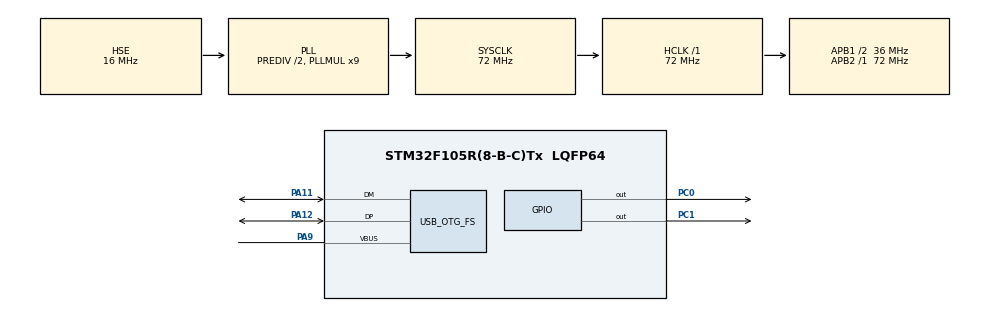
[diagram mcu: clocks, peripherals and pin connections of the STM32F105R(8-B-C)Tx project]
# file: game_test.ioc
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FREERTOS.Tasks01=defaultTask,0,128,StartDefaultTask,Default,NULL
Mcu.Family=STM32F1
Mcu.Name=STM32F105R(8-B-C)Tx
Mcu.Package=LQFP64
NVIC.OTG_FS_IRQn=true\:5\:0\:false\:false\:true\:true\:false\:true
NVIC.PriorityGroup=NVIC_PRIORITYGROUP_4
PA11.Mode=Device_Only
PA11.Signal=USB_OTG_FS_DM
PA12.Mode=Device_Only
PA12.Signal=USB_OTG_FS_DP
PA9.Mode=Activate_VBUS
PA9.Signal=USB_OTG_FS_VBUS
PC0.Signal=GPIO_Output
PC1.Signal=GPIO_Output
PD0-OSC_IN.Mode=HSE-External-Oscillator
PD0-OSC_IN.Signal=RCC_OSC_IN
PD1-OSC_OUT.Mode=HSE-External-Oscillator
PD1-OSC_OUT.Signal=RCC_OSC_OUT
ProjectManager.HeapSize=0x200
ProjectManager.StackSize=0x400
ProjectManager.TargetToolchain=MDK-ARM V5
RCC.AHBFreq_Value=72000000
RCC.APB1CLKDivider=RCC_HCLK_DIV2
RCC.APB1Freq_Value=36000000
RCC.APB1TimFreq_Value=72000000
RCC.APB2Freq_Value=72000000
RCC.APB2TimFreq_Value=72000000
RCC.HCLKFreq_Value=72000000
RCC.HSEDivPLL=RCC_HSE_PREDIV_DIV2
RCC.HSE_VALUE=16000000
RCC.PLLMUL=RCC_PLL_MUL9
RCC.SYSCLKFreq_VALUE=72000000
RCC.SYSCLKSource=RCC_SYSCLKSOURCE_PLLCLK
RCC.USBFreq_Value=48000000
USB_DEVICE.CLASS_NAME_FS=CDC
USB_DEVICE.VirtualMode=Cdc
USB_DEVICE.VirtualModeFS=Cdc_FS
USB_OTG_FS.VirtualMode=Device_Only
VP_FREERTOS_VS_CMSIS_V1.Mode=CMSIS_V1
VP_SYS_VS_ND.Mode=No_Debug
VP_USB_DEVICE_VS_USB_DEVICE_CDC_FS.Mode=CDC_FS
board=custom

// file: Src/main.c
/* USER CODE BEGIN Header */
/**
  ******************************************************************************
  * @file           : main.c
  * @brief          : Main program body
  ******************************************************************************
  * This notice applies to any and all portions of this file
  * that are not between comment pairs USER CODE BEGIN and
  * USER CODE END. Other portions of this file, whether
  * inserted by the user or by software development tools
  * are owned by their respective copyright owners.
  *
  * Copyright (c) 2020 STMicroelectronics International N.V.
  * All rights reserved.
  *
  * Redistribution and use in source and binary forms, with or without
  * modification, are permitted, provided that the following conditions are met:
  *
  * 1. Redistribution of source code must retain the above copyright notice,
  *    this list of conditions and the following disclaimer.
  * 2. Redistributions in binary form must reproduce the above copyright notice,
  *    this list of conditions and the following disclaimer in the documentation
  *    and/or other materials provided with the distribution.
  * 3. Neither the name of STMicroelectronics nor the names of other
  *    contributors to this software may be used to endorse or promote products
  *    derived from this software without specific written permission.
  * 4. This software, including modifications and/or derivative works of this
  *    software, must execute solely and exclusively on microcontroller or
  *    microprocessor devices manufactured by or for STMicroelectronics.
  * 5. Redistribution and use of this software other than as permitted under
  *    this license is void and will automatically terminate your rights under
  *    this license.
  *
  * THIS SOFTWARE IS PROVIDED BY STMICROELECTRONICS AND CONTRIBUTORS "AS IS"
  * AND ANY EXPRESS, IMPLIED OR STATUTORY WARRANTIES, INCLUDING, BUT NOT
  * LIMITED TO, THE IMPLIED WARRANTIES OF MERCHANTABILITY, FITNESS FOR A
  * PARTICULAR PURPOSE AND NON-INFRINGEMENT OF THIRD PARTY INTELLECTUAL PROPERTY
  * RIGHTS ARE DISCLAIMED TO THE FULLEST EXTENT PERMITTED BY LAW. IN NO EVENT
  * SHALL STMICROELECTRONICS OR CONTRIBUTORS BE LIABLE FOR ANY DIRECT, INDIRECT,
  * INCIDENTAL, SPECIAL, EXEMPLARY, OR CONSEQUENTIAL DAMAGES (INCLUDING, BUT NOT
  * LIMITED TO, PROCUREMENT OF SUBSTITUTE GOODS OR SERVICES; LOSS OF USE, DATA,
  * OR PROFITS; OR BUSINESS INTERRUPTION) HOWEVER CAUSED AND ON ANY THEORY OF
  * LIABILITY, WHETHER IN CONTRACT, STRICT LIABILITY, OR TORT (INCLUDING
  * NEGLIGENCE OR OTHERWISE) ARISING IN ANY WAY OUT OF THE USE OF THIS SOFTWARE,
  * EVEN IF ADVISED OF THE POSSIBILITY OF SUCH DAMAGE.
  *
  ******************************************************************************
  */
/* USER CODE END Header */

#include "main.h"
#include "cmsis_os.h"
#include "usb_device.h"

/* USER CODE BEGIN PD */
#define ERROR_SET -1
#define SET_OK 1
#define IN_PAST_SET 0
#define SET_ZX 1
#define RESET_ZX 0
#define X 'x'
#define Z '0'
#define CLR ' '
#define CLEAR_STRING 9

#define WIN 10
#define LOSS 20
#define DRAW 30
#define NEXT_STEP 40
/* USER CODE END PD */

osThreadId defaultTaskHandle;
/* USER CODE BEGIN PV */
xQueueHandle queue_usb;
xQueueHandle queue_in_usb;
uint8_t data_buff_input_usb[64];
uint8_t data_buff_to_usb[64];

struct msg_for_game{
uint8_t invite_string[64];
uint8_t game_field[6][10];
}struct_for_send;

Control_CMD_t result_search;
extern uint8_t CDC_Transmit_FS(uint8_t* Buf, uint16_t Len);
void Error_Handler(void);
void PrepareMove(Control_CMD_t move);
uint8_t CheckFild(uint8_t num_cell,uint8_t *ptr);
int ModifyGameField(uint8_t num_cell,char symbol);
uint8_t AlgoritmGame(uint8_t num_cell);
void SetMoveInMsg(uint8_t move, uint8_t symbol);
bool SearchWinComb(uint8_t num_cell);
void MoveComb(uint8_t num_cell,char source[],char destination[]);
void RemoveComb(uint8_t num_cell,char* source);
uint8_t SearchLineBlock(uint8_t num_cell);
void SeparateLine(uint8_t num_cell);
void ResetAllDataGame(void);
uint8_t z_coordinates[9] = {RESET_ZX};
uint8_t x_coordinates[9] = {RESET_ZX};

uint8_t abc_xy[9][2] = {{1,2},{3,2},{5,2},
												{1,3},{3,3},{5,3},
                         {1,4},{3,4},{5,4}};

uint8_t  step = 0;
struct Combination
{
uint8_t cnt_comb ;
char buff_comb[8][3];
};

struct Combination first_state = {8,
																	1,2,3,
																	1,5,9,
																	1,4,7,
																	2,5,8,
																	4,5,6,
																	7,5,3,
																	9,6,3,
																	9,8,7
																	};

struct Combination block_comb = {0,
																		0,0,0,
																		0,0,0,
																		0,0,0,
																		0,0,0,
																		0,0,0,
																		0,0,0,
																		0,0,0,
																		0,0,0
};

struct Combination norm_comb = {0,
																		0,0,0,
																		0,0,0,
																		0,0,0,
																		0,0,0,
																		0,0,0,
																		0,0,0,
																		0,0,0,
																		0,0,0
};

struct msg_for_game msg_full;
bool flag_start_game = false;

uint8_t your_step_my_step[]       = {"YOUR MOVE   , MY MOVE   \r\n"};

uint8_t invite[]       = {"ENTER YOUR MOVE,OR SEND 'END'\r\n"};
uint8_t you_won[]        = {"YOU WON, CONGRATULATIONS!\r\n"};
uint8_t i_won[]          = {"YOU HAVE LOST, TRY AGAIN!\r\n"};
uint8_t draw[]           = {"DRAW, FRIENDSHIP WON!\r\n"};

uint8_t game_field[6][10] = {{"-A-B-C--\r\n"},
                             {"--------\r\n"},
                             {"| | | |1\r\n"},
                             {"| | | |2\r\n"},
                             {"| | | |3\r\n"},
                             {"--------\r\n"}};
/* USER CODE END PV */

void SystemClock_Config(void);
static void MX_GPIO_Init(void);
void StartDefaultTask(void const * argument);

/* USER CODE BEGIN 0 */
/*отправка пакетов в USB*/
/*разбор пакета принятого в USB*/
void Task_Pars_USB (void *pvParametrs)
{

	portBASE_TYPE xHigherPriorityTaskWoken;
	xHigherPriorityTaskWoken = 50;
	portBASE_TYPE retVal;

for(;;)
	{

		retVal = xQueueReceive(queue_in_usb,&data_buff_input_usb, 0);
		if(retVal == pdPASS)
		{
				result_search = ParsCMD(data_buff_input_usb);
				switch (result_search)
				{
					/*установка скорости CAN*/
								case HELLO:
								{
									PrepareMove(HELLO);
									/*ответим плодтверждением*/
									break;
								}
								case A1:
								{
									/*ответим плодтверждением*/
									PrepareMove(A1);
									break;
								}
								case A2:
								{
									/*ответим плодтверждением*/
									PrepareMove(A2);
									break;
								}
								case A3:
								{
									/*ответим плодтверждением*/
									PrepareMove(A3);
									break;
								}
								case B1:
								{
									/*ответим плодтверждением*/
									PrepareMove(B1);
									break;
								}
								case B2:
								{
									/*ответим плодтверждением*/
									PrepareMove(B2);
									break;
								}
								case B3:
								{

									/*ответим плодтверждением*/
									PrepareMove(B3);
									break;
								}
								case C1:
								{
									/*ответим плодтверждением*/
									PrepareMove(C1);
									break;
								}
								case C2:
								{
									/*ответим плодтверждением*/
								  PrepareMove(C2);
									break;
								}
								case C3:
								{
									/*ответим плодтверждением*/
									PrepareMove(C3);
									break;
								}
								case END:
								{
									flag_start_game = false;
									/*ответим плодтверждением*/
									PrepareMove(END);
									break;
								}

					default :
					{
						break;
					}
				}

		}
		osDelay(1);
	}

}

void Task_Send_USB (void *pvParametrs)
{
	portBASE_TYPE retVal;
	uint8_t data_to_usb[64];
	uint8_t answer = 0;
	for(;;)
	{
//	  retVal = xQueueReceive(queue_usb,&data_to_usb, strlen(queue_usb));
//		if(retVal == pdPASS )
//		{
//			CDC_Transmit_FS(game_field[0],sizeof(game_field));
//			do{
//						answer = CDC_Transmit_FS(data_to_usb,strlen((char*)data_to_usb));
//			  }while(answer != USBD_OK);

//			memset(data_to_usb,0,64);
//		}
			  retVal = xQueueReceive(queue_usb,&msg_full, strlen(queue_usb));
		if(retVal == pdPASS )
		{
			CDC_Transmit_FS(msg_full.game_field[0],sizeof(msg_full.game_field));
			do{
						answer = CDC_Transmit_FS(msg_full.invite_string,strlen((char*)msg_full.invite_string));
			  }while(answer != USBD_OK);

			memset(data_to_usb,0,64);
		}
		else
		{

		}
    osDelay(1);
	}
}
/* USER CODE END 0 */

int main(void)
{

  /* MCU Configuration--------------------------------------------------------*/

  /* Reset of all peripherals, Initializes the Flash interface and the Systick. */
  HAL_Init();

  /* Configure the system clock */
  SystemClock_Config();

  /* Initialize all configured peripherals */
  MX_GPIO_Init();

  /* USER CODE BEGIN RTOS_QUEUES */
  /* add queues, ... */
	//queue_usb = xQueueCreate(8,sizeof(data_buff_to_usb));
	queue_usb = xQueueCreate(8,sizeof(struct_for_send));
	queue_in_usb = xQueueCreate(8,sizeof(data_buff_input_usb));
  /* USER CODE END RTOS_QUEUES */

  /* Create the thread(s) */
  /* definition and creation of defaultTask */
  osThreadDef(defaultTask, StartDefaultTask, osPriorityNormal, 0, 128);
  defaultTaskHandle = osThreadCreate(osThread(defaultTask), NULL);

  /* USER CODE BEGIN RTOS_THREADS */
  /* add threads, ... */
	xTaskCreate( Task_Send_USB, (const char *) "Task_Send_USB", configMINIMAL_STACK_SIZE, NULL, 1, NULL );
	xTaskCreate( Task_Pars_USB, (const char *) "Task_Pars_USB", configMINIMAL_STACK_SIZE, NULL, 0, NULL );
  /* USER CODE END RTOS_THREADS */

  /* Start scheduler */
  osKernelStart();

  /* We should never get here as control is now taken by the scheduler */
  /* Infinite loop */
  while (1)
  {

  }
}

void SystemClock_Config(void)
{
  RCC_OscInitTypeDef RCC_OscInitStruct = {0};
  RCC_ClkInitTypeDef RCC_ClkInitStruct = {0};
  RCC_PeriphCLKInitTypeDef PeriphClkInit = {0};

  /** Initializes the CPU, AHB and APB busses clocks
  */
  RCC_OscInitStruct.OscillatorType = RCC_OSCILLATORTYPE_HSE;
  RCC_OscInitStruct.HSEState = RCC_HSE_ON;
  RCC_OscInitStruct.HSEPredivValue = RCC_HSE_PREDIV_DIV2;
  RCC_OscInitStruct.HSIState = RCC_HSI_ON;
  RCC_OscInitStruct.Prediv1Source = RCC_PREDIV1_SOURCE_HSE;
  RCC_OscInitStruct.PLL.PLLState = RCC_PLL_ON;
  RCC_OscInitStruct.PLL.PLLSource = RCC_PLLSOURCE_HSE;
  RCC_OscInitStruct.PLL.PLLMUL = RCC_PLL_MUL9;
  RCC_OscInitStruct.PLL2.PLL2State = RCC_PLL_NONE;
  if (HAL_RCC_OscConfig(&RCC_OscInitStruct) != HAL_OK)
  {
    Error_Handler();
  }
  /** Initializes the CPU, AHB and APB busses clocks
  */
  RCC_ClkInitStruct.ClockType = RCC_CLOCKTYPE_HCLK|RCC_CLOCKTYPE_SYSCLK
                              |RCC_CLOCKTYPE_PCLK1|RCC_CLOCKTYPE_PCLK2;
  RCC_ClkInitStruct.SYSCLKSource = RCC_SYSCLKSOURCE_PLLCLK;
  RCC_ClkInitStruct.AHBCLKDivider = RCC_SYSCLK_DIV1;
  RCC_ClkInitStruct.APB1CLKDivider = RCC_HCLK_DIV2;
  RCC_ClkInitStruct.APB2CLKDivider = RCC_HCLK_DIV1;

  if (HAL_RCC_ClockConfig(&RCC_ClkInitStruct, FLASH_LATENCY_2) != HAL_OK)
  {
    Error_Handler();
  }
  PeriphClkInit.PeriphClockSelection = RCC_PERIPHCLK_USB;
  PeriphClkInit.UsbClockSelection = RCC_USBCLKSOURCE_PLL_DIV3;
  if (HAL_RCCEx_PeriphCLKConfig(&PeriphClkInit) != HAL_OK)
  {
    Error_Handler();
  }
  /** Configure the Systick interrupt time
  */
  __HAL_RCC_PLLI2S_ENABLE();
}

static void MX_GPIO_Init(void)
{
  GPIO_InitTypeDef GPIO_InitStruct = {0};

  /* GPIO Ports Clock Enable */
  __HAL_RCC_GPIOD_CLK_ENABLE();
  __HAL_RCC_GPIOC_CLK_ENABLE();
  __HAL_RCC_GPIOA_CLK_ENABLE();

  /*Configure GPIO pin Output Level */
  HAL_GPIO_WritePin(GPIOC, GPIO_PIN_0|GPIO_PIN_1, GPIO_PIN_RESET);

  /*Configure GPIO pins : PC0 PC1 */
  GPIO_InitStruct.Pin = GPIO_PIN_0|GPIO_PIN_1;
  GPIO_InitStruct.Mode = GPIO_MODE_OUTPUT_PP;
  GPIO_InitStruct.Pull = GPIO_NOPULL;
  GPIO_InitStruct.Speed = GPIO_SPEED_FREQ_LOW;
  HAL_GPIO_Init(GPIOC, &GPIO_InitStruct);

}

/* USER CODE BEGIN 4 */
void PrepareMove(Control_CMD_t move)
{
	portBASE_TYPE xHigherPriorityTaskWoken;
	uint8_t result_step = 0;

	switch (move) {
				case HELLO:
								/*вернем поле в исходное состояние*/

								ResetAllDataGame();

								memcpy(msg_full.game_field,game_field,sizeof(game_field));
								memcpy(msg_full.invite_string,invite,sizeof(invite));

								xQueueSend(queue_usb,&msg_full,xHigherPriorityTaskWoken);

				break;
				case A1:
					/*если не занято ноликом*/
								if(z_coordinates[0] != SET_ZX)
								{
									if(x_coordinates[0] != SET_ZX)
									{
										result_step = AlgoritmGame(1);
									}
									else
									{
										CDC_Transmit_FS(invite,sizeof(invite));
									}
								}
								else
								{
									CDC_Transmit_FS(invite,sizeof(invite));
								}
				break;
				case A2:
					/*если не занято ноликом*/
								if(z_coordinates[3] != SET_ZX)
								{
									if(x_coordinates[3] != SET_ZX)
									{
										result_step = AlgoritmGame(4);
									}
									else
									{
										CDC_Transmit_FS(invite,sizeof(invite));
									}
								}
								else
								{
									CDC_Transmit_FS(invite,sizeof(invite));
								}
				break;
				case A3:
					/*если не занято ноликом*/
								if(z_coordinates[6] != SET_ZX)
								{
									if(x_coordinates[6] != SET_ZX)
									{
										result_step = AlgoritmGame(7);
									}
									else
									{
										CDC_Transmit_FS(invite,sizeof(invite));
									}
								}
								else
								{
									CDC_Transmit_FS(invite,sizeof(invite));
								}
				break;
				case B1:
					/*если не занято ноликом*/
								if(z_coordinates[1] != SET_ZX)
								{
									if(x_coordinates[1] != SET_ZX)
									{
										result_step = AlgoritmGame(2);
									}
									else
									{
										CDC_Transmit_FS(invite,sizeof(invite));
									}
								}
								else
								{
									CDC_Transmit_FS(invite,sizeof(invite));
								}
				break;
				case B2:
					/*если не занято ноликом*/
								if(z_coordinates[4] != SET_ZX)
								{
									if(x_coordinates[4] != SET_ZX)
									{
										result_step = AlgoritmGame(5);
									}
									else
									{
										CDC_Transmit_FS(invite,sizeof(invite));
									}
								}
								else
								{
									CDC_Transmit_FS(invite,sizeof(invite));
								}
				break;
				case B3:
					/*если не занято ноликом*/
								if(z_coordinates[7] != SET_ZX)
								{
									if(x_coordinates[7] != SET_ZX)
									{
										result_step = AlgoritmGame(8);
									}
									else
									{
										CDC_Transmit_FS(invite,sizeof(invite));
									}
								}
								else
								{
									CDC_Transmit_FS(invite,sizeof(invite));
								}
				break;
				case C1:
					/*если не занято ноликом*/
								if(z_coordinates[2] != SET_ZX)
								{
									if(x_coordinates[2] != SET_ZX)
									{
										result_step = AlgoritmGame(3);
									}
									else
									{
										CDC_Transmit_FS(invite,sizeof(invite));
									}
								}
								else
								{
									CDC_Transmit_FS(invite,sizeof(invite));
								}
				break;
				case C2:
					/*если не занято ноликом*/
								if(z_coordinates[5] != SET_ZX)
								{
									if(x_coordinates[5] != SET_ZX)
									{
										result_step = AlgoritmGame(6);
									}
									else
									{
										CDC_Transmit_FS(invite,sizeof(invite));
									}
								}
								else
								{
									CDC_Transmit_FS(invite,sizeof(invite));
								}
				break;
				case C3:
					/*если не занято ноликом*/
								if(z_coordinates[8] != SET_ZX)
								{
									if(x_coordinates[8] != SET_ZX)
									{
										result_step = AlgoritmGame(9);
									}
									else
									{
										CDC_Transmit_FS(invite,sizeof(invite));
									}
								}
								else
								{
									CDC_Transmit_FS(invite,sizeof(invite));
								}
				break;
				case END:
								/*вернем поле в исходное состояние*/
								ResetAllDataGame();
				break;
				default:

				break;

	}
	if(result_step != 0)
	{
		switch (result_step)
		{
			case WIN:

				memcpy(msg_full.game_field,game_field,sizeof(game_field));
				memcpy(msg_full.invite_string,i_won,sizeof(i_won));

				xQueueSend(queue_usb,&msg_full,xHigherPriorityTaskWoken);

				ResetAllDataGame();

				memcpy(msg_full.game_field,game_field,sizeof(game_field));
				memcpy(msg_full.invite_string,invite,sizeof(invite));

			  xQueueSend(queue_usb,&msg_full,xHigherPriorityTaskWoken);

				break;
			case DRAW:

				memcpy(msg_full.game_field,game_field,sizeof(game_field));
				memcpy(msg_full.invite_string,draw,sizeof(draw));

				xQueueSend(queue_usb,&msg_full,xHigherPriorityTaskWoken);

				ResetAllDataGame();

				memcpy(msg_full.game_field,game_field,sizeof(game_field));
				memcpy(msg_full.invite_string,invite,sizeof(invite));

			  xQueueSend(queue_usb,&msg_full,xHigherPriorityTaskWoken);

				break;
			case LOSS:

				memcpy(msg_full.game_field,game_field,sizeof(game_field));
				memcpy(msg_full.invite_string,you_won,sizeof(you_won));

			  xQueueSend(queue_usb,&msg_full,xHigherPriorityTaskWoken);

			  ResetAllDataGame();

			  memcpy(msg_full.game_field,game_field,sizeof(game_field));
				memcpy(msg_full.invite_string,invite,sizeof(invite));

				xQueueSend(queue_usb,&msg_full,xHigherPriorityTaskWoken);

			break;
			default:

				memcpy(msg_full.game_field,game_field,sizeof(game_field));
				memcpy(msg_full.invite_string,your_step_my_step,sizeof(your_step_my_step));

			  xQueueSend(queue_usb,&msg_full,xHigherPriorityTaskWoken);

			break;
		}
	}

}
//bool ModifyGameField(uint8_t x,uint8_t y,char symbol)
int ModifyGameField(uint8_t num_cell,char symbol)
{
	int  result ;
	uint8_t copy_num_cell = num_cell - 1;
	/*получим координаты вставки*/
	uint8_t x = abc_xy[copy_num_cell][0];
  uint8_t y = abc_xy[copy_num_cell][1];
	/*проверим на возможность вставки символа в поле*/
	if(symbol == Z)
	{
		if(x_coordinates[copy_num_cell] != SET_ZX)
		{
			if(z_coordinates[copy_num_cell] != SET_ZX)
			{
				z_coordinates[copy_num_cell] = SET_ZX;
				game_field[y][x] = symbol;
				result = SET_OK;
				/*произведем очистку буфера блокируемых комбинаций*/
				RemoveComb(num_cell,&block_comb.buff_comb[0][0]);
				/*в массив внесем ход*/
				SetMoveInMsg(copy_num_cell,Z);
			}
			/*символ ранее установлен*/
			else
			{
				result = IN_PAST_SET;
			}
		}
		/*ячейка занята соперником*/
		else
		{
			/*вернуть признак невозможности установки*/
			result = ERROR_SET;
		}
	}
	/*проверим на возможность вставки символа в поле*/
	else if (symbol == X)
	{
		if(z_coordinates[copy_num_cell] != SET_ZX)
		{
			if(x_coordinates[copy_num_cell] != SET_ZX)
			{
				x_coordinates[copy_num_cell] = SET_ZX;
				game_field[y][x] = symbol;
				result = SET_OK;
				/*произведем перемещение в буфер блокируемых комбинаций*/
				MoveComb(num_cell,&norm_comb.buff_comb[0][0],&block_comb.buff_comb[0][0]);
				/*произведем запись в буфер блокируемых комбинаций*/
				RemoveComb(num_cell,&norm_comb.buff_comb[0][0]);
				/*в массив внесем ход*/
				SetMoveInMsg(copy_num_cell,X);
			}
			/*символ ранее установлен*/
			else
			{
				result = IN_PAST_SET;
			}
		}
		/*ячейка занята моим символом*/
		else
		{
			/*вернуть признак невозможности установки*/
			result = ERROR_SET;
		}
	}
	/*очистим поле*/
	else if (symbol == CLR)
	{
		x_coordinates[copy_num_cell] = RESET_ZX;
		z_coordinates[copy_num_cell] = RESET_ZX;
		game_field[y][x] = symbol;
		result = SET_OK;
	}
	return result;
}

uint8_t CheckFild(uint8_t num_cell,uint8_t *ptr)
{
	uint8_t result = 0;
	num_cell--;
	result = ptr[num_cell];

	return result;
}
uint8_t AlgoritmGame(uint8_t num_cell)
{
			/*правила игры*/
		/* 1)крестики в линию?
		    -блокируем*/
		/* 2)крестик в углу?
		    -если центр не занят занимаем
				-определим кратчайший путь и займем угол
		   2.1 крестики в линию?
				-блокируем*/
		/* 3)символы в одну линию?
				-при диагональном совпадении ставим в ячейки кроме углов
		    -при совпадении в линию ставим в свободный угол*/
		/* 4)противник занял центр и угол?
		    -занимаем угол если не требуется блокировать*/
			//int cell_idx = rand() % 10 + 1;

	int cell_idx = 0;
	/*проверим номер хода*/
	if(step == 0){
		/*сделаем ход*/
	  if(ModifyGameField(num_cell,X) == SET_OK)
		{
			SeparateLine(num_cell);

				if(num_cell == 5)
				{

				cell_idx = 3;
				}
				else if(num_cell == 1 ||
		      num_cell == 3 ||
	        num_cell == 7 ||
	        num_cell == 9)
				{
						/*если первый шаг*/
						if(step == 0)
						{
							cell_idx = 5;
						}
						else
						{

						}
					}
					else if(num_cell == 4 ||
									num_cell == 2 ||
									num_cell == 8 ||
									num_cell == 6)
					{

						/*если первый шаг*/
						if(step == 0)
						{
							cell_idx = 5;

						}
						else
						{

						}
					}
					ModifyGameField(cell_idx,Z);
				}
			}

	else
	{
		/*сделаем ход*/
	  if(ModifyGameField(num_cell,X) == SET_OK)
		{
			cell_idx  = SearchLineBlock(num_cell);
			if(cell_idx == LOSS)
			{
				return LOSS;
			}
		}
		/*необходимо блокировать*/
		if(cell_idx != 0)
		{
			if(SearchWinComb(num_cell) == true)
			{
				return WIN;
			}
			ModifyGameField(cell_idx,Z);
		}
		/*пробуем выиграть*/
		else
		{
			if(SearchWinComb(num_cell) == true)
			{
				return WIN;
			}
					/*победных комбинаций нет*/
					/*определим ход из этого определим стратегию*/
					switch (num_cell)
					{
						case 1:
							/*1-2-3*/
							if(CheckFild(2,z_coordinates) == SET || CheckFild(2,x_coordinates) == SET)
							{
								if(CheckFild(3,x_coordinates) == SET || CheckFild(3,z_coordinates) == SET)
								{
									/*проверим наличие линии не по диагонали*/
										if((ModifyGameField(7,Z)) != SET_OK)
										{
											if((ModifyGameField(9,Z)) != SET_OK)
											{

											}
										}
								}
							}
							/*1-4-7*/
							else if(CheckFild(4,z_coordinates) == SET)
							{
								if(CheckFild(7,z_coordinates) == SET)
									{
										if((ModifyGameField(3,Z)) != SET_OK)
										{
											if((ModifyGameField(9,Z)) != SET_OK)
											{

											}
										}
									}
							}
							/*1-5-9*/
							else if(CheckFild(5,z_coordinates) == SET)
							{
								if(CheckFild(9,z_coordinates) == SET)
								{
											if((ModifyGameField(2,Z)) != SET_OK)
											{
												if((ModifyGameField(6,Z)) != SET_OK)
												{
													if((ModifyGameField(4,Z)) != SET_OK)
													{
														if((ModifyGameField(8,Z)) != SET_OK)
														{

														}
													}
												}
											}
								}
							/*1-5->3||7*/
							else
							{
								if((ModifyGameField(3,Z)) != SET_OK)
								{
									if((ModifyGameField(7,Z)) != SET_OK)
									{

									}
								}
							}
							}

							break;

						case 2:
							if(CheckFild(9,x_coordinates) == SET)
							{
								if((ModifyGameField(3,Z)) != SET_OK)
								{
									if((ModifyGameField(1,Z)) != SET_OK)
									{
										if((ModifyGameField(7,Z)) != SET_OK)
										{
										if((ModifyGameField(4,Z)) != SET_OK)
										{
													if((ModifyGameField(6,Z)) != SET_OK)
										{

										}
										}
										}
								  }
								}
							}
							else if (CheckFild(6,x_coordinates) == SET)
							{
								if((ModifyGameField(4,Z)) != SET_OK)
										{

										}
							}
							else if(CheckFild(7,x_coordinates))
							{
								if((ModifyGameField(1,Z)) != SET_OK)
								{
									if((ModifyGameField(3,Z)) != SET_OK)
									{
										if((ModifyGameField(9,Z)) != SET_OK)
										{

										}
								  }
								}
							}
							else if (CheckFild(4,x_coordinates) == SET)
							{
								if((ModifyGameField(6,Z)) != SET_OK)
										{

										}
							}
							else if (CheckFild(5,x_coordinates) == SET || CheckFild(5,z_coordinates) == SET)
							{
								if (CheckFild(8,x_coordinates) == SET || CheckFild(8,z_coordinates) == SET)
								{
										if((ModifyGameField(1,Z)) != SET_OK)
										{
												if((ModifyGameField(3,Z)) != SET_OK)
												{
													if((ModifyGameField(7,Z)) != SET_OK)
													{
														if((ModifyGameField(9,Z)) != SET_OK)
														{

														}
													}
												}
										}
								}
							}
							break;
						case 3:
							/*3-2-1*/
							if(CheckFild(2,z_coordinates) == SET || CheckFild(2,x_coordinates) == SET)
							{
								if(CheckFild(1,x_coordinates) == SET || CheckFild(1,z_coordinates) == SET)
								{
									/*проверим наличие линии не по диагонали*/
										if((ModifyGameField(7,Z)) != SET_OK)
										{
											if((ModifyGameField(9,Z)) != SET_OK)
											{

											}
										}
								}
							}
							/*3-6-9*/
							else if(CheckFild(6,z_coordinates) == SET)
							{
								if(CheckFild(9,z_coordinates) == SET)
									{
										if((ModifyGameField(1,Z)) != SET_OK)
										{
											if((ModifyGameField(7,Z)) != SET_OK)
											{

											}
										}
									}
							}
							/*3-5-7*/
							else if(CheckFild(5,z_coordinates) == SET)
							{
								if(CheckFild(7,z_coordinates) == SET)
								{
											if((ModifyGameField(2,Z)) != SET_OK)
											{
												if((ModifyGameField(6,Z)) != SET_OK)
												{
													if((ModifyGameField(4,Z)) != SET_OK)
													{
														if((ModifyGameField(8,Z)) != SET_OK)
														{

														}
													}
												}
											}
								}
							/*3-5->1||9*/
							else
							{
								if((ModifyGameField(1,Z)) != SET_OK)
								{
									if((ModifyGameField(9,Z)) != SET_OK)
									{

									}
								}
							}
							}

							break;
						case 4:
							if(CheckFild(3,x_coordinates) == SET)
							{
								if((ModifyGameField(1,Z)) != SET_OK)
								{
									if((ModifyGameField(7,Z)) != SET_OK)
									{
										if((ModifyGameField(9,Z)) != SET_OK)
										{

										}
								  }
								}
							}
							else if (CheckFild(2,x_coordinates) == SET)
							{
								if((ModifyGameField(8,Z)) != SET_OK)
										{

										}
							}
							else if(CheckFild(9,x_coordinates))
							{
								if((ModifyGameField(7,Z)) != SET_OK)
								{
									if((ModifyGameField(1,Z)) != SET_OK)
									{
										if((ModifyGameField(9,Z)) != SET_OK)
										{

										}
								  }
								}
							}
							else if (CheckFild(8,x_coordinates) == SET)
							{
								if((ModifyGameField(2,Z)) != SET_OK)
										{

										}
							}
							else if (CheckFild(5,x_coordinates) == SET || CheckFild(5,z_coordinates) == SET)
							{
								if (CheckFild(6,x_coordinates) == SET || CheckFild(6,z_coordinates) == SET)
								{
										if((ModifyGameField(1,Z)) != SET_OK)
										{
												if((ModifyGameField(3,Z)) != SET_OK)
												{
													if((ModifyGameField(7,Z)) != SET_OK)
													{
														if((ModifyGameField(9,Z)) != SET_OK)
														{

														}
													}
												}
										}
								}
							}
							break;
						case 6:
							if(CheckFild(1,x_coordinates) == SET)
							{
								if((ModifyGameField(3,Z)) != SET_OK)
								{
									if((ModifyGameField(7,Z)) != SET_OK)
									{
										if((ModifyGameField(9,Z)) != SET_OK)
										{
											if((ModifyGameField(2,Z)) != SET_OK)
											{
												if((ModifyGameField(4,Z)) != SET_OK)
												{
													if((ModifyGameField(8,Z)) != SET_OK)
													{

													}
												}
											}
										}
								  }
								}
							}
							else if (CheckFild(2,x_coordinates) == SET)
							{
										if((ModifyGameField(3,Z)) != SET_OK)
										{
												if((ModifyGameField(9,Z)) != SET_OK)
												{
													if((ModifyGameField(1,Z)) != SET_OK)
													{
														if((ModifyGameField(1,Z)) != SET_OK)
													{

													}
													}
												}
										}
							}
							else if(CheckFild(7,x_coordinates))
							{
								if((ModifyGameField(7,Z)) != SET_OK)
								{
									if((ModifyGameField(1,Z)) != SET_OK)
									{
										if((ModifyGameField(3,Z)) != SET_OK)
										{

										}
								  }
								}
							}
							else if (CheckFild(4,x_coordinates) == SET)
							{
								if((ModifyGameField(2,Z)) != SET_OK)
										{

										}
							}
							else if (CheckFild(5,x_coordinates) == SET || CheckFild(5,z_coordinates) == SET)
							{
								if (CheckFild(4,x_coordinates) == SET || CheckFild(4,z_coordinates) == SET)
								{
										if((ModifyGameField(1,Z)) != SET_OK)
										{
												if((ModifyGameField(3,Z)) != SET_OK)
												{
													if((ModifyGameField(7,Z)) != SET_OK)
													{
														if((ModifyGameField(9,Z)) != SET_OK)
														{

														}
													}
												}
										}
								}
							}
							break;
						case 7:

							/*7-4-1*/
							if(CheckFild(4,z_coordinates) == SET || CheckFild(4,x_coordinates) == SET)
							{
								if(CheckFild(1,x_coordinates) == SET || CheckFild(1,z_coordinates) == SET)
								{
									/*проверим наличие линии не по диагонали*/
										if((ModifyGameField(3,Z)) != SET_OK)
										{
											if((ModifyGameField(9,Z)) != SET_OK)
											{

											}
										}
								}
							}
							/*7-8-9*/
							else if((CheckFild(8,z_coordinates) == SET) || (CheckFild(8,x_coordinates) == SET))
							{
								if(CheckFild(9,z_coordinates) == SET)
									{
										if((ModifyGameField(1,Z)) != SET_OK)
										{
											if((ModifyGameField(3,Z)) != SET_OK)
											{

											}
										}
									}
							}
							/*7-5-3*/
							else if(CheckFild(5,z_coordinates) == SET)
							{
								if((CheckFild(3,z_coordinates) == SET) || (CheckFild(3,x_coordinates) == SET))
								{
											if((ModifyGameField(2,Z)) != SET_OK)
											{
												if((ModifyGameField(6,Z)) != SET_OK)
												{
													if((ModifyGameField(4,Z)) != SET_OK)
													{
														if((ModifyGameField(8,Z)) != SET_OK)
														{

														}
													}
												}
											}
								}
							/*7-5->1||9*/
							else
							{
								if((ModifyGameField(1,Z)) != SET_OK)
								{
									if((ModifyGameField(9,Z)) != SET_OK)
									{

									}
								}
							}
							}

							break;
						case 8:
							if(CheckFild(1,x_coordinates) == SET)
							{
								if((ModifyGameField(7,Z)) != SET_OK)
								{
									if((ModifyGameField(3,Z)) != SET_OK)
									{
										if((ModifyGameField(9,Z)) != SET_OK)
										{

										}
								  }
								}
							}
							else if (CheckFild(4,x_coordinates) == SET)
							{
								if((ModifyGameField(2,Z)) != SET_OK)
										{

										}
							}
							else if(CheckFild(3,x_coordinates))
							{
								if((ModifyGameField(9,Z)) != SET_OK)
								{
									if((ModifyGameField(1,Z)) != SET_OK)
									{
										if((ModifyGameField(7,Z)) != SET_OK)
										{

										}
								  }
								}
							}
							else if (CheckFild(2,x_coordinates) == SET)
							{
								if((ModifyGameField(4,Z)) != SET_OK)
										{

										}
							}
							else if (CheckFild(5,x_coordinates) == SET || CheckFild(5,z_coordinates) == SET)
							{
								if (CheckFild(2,x_coordinates) == SET || CheckFild(2,z_coordinates) == SET)
								{
										if((ModifyGameField(1,Z)) != SET_OK)
										{
												if((ModifyGameField(3,Z)) != SET_OK)
												{
													if((ModifyGameField(7,Z)) != SET_OK)
													{
														if((ModifyGameField(9,Z)) != SET_OK)
														{

														}
													}
												}
										}
								}
							}
							break;
						case 9:

							/*9-8-7*/
							if(CheckFild(8,z_coordinates) == SET || CheckFild(8,x_coordinates) == SET)
							{
								if(CheckFild(7,x_coordinates) == SET || CheckFild(7,z_coordinates) == SET)
								{
									/*проверим наличие линии не по диагонали*/
										if((ModifyGameField(1,Z)) != SET_OK)
										{
											if((ModifyGameField(3,Z)) != SET_OK)
											{

											}
										}
								}
							}
							/*9-6-3*/
							else if(CheckFild(6,z_coordinates) == SET)
							{
								if(CheckFild(3,z_coordinates) == SET)
									{
										if((ModifyGameField(1,Z)) != SET_OK)
										{
											if((ModifyGameField(7,Z)) != SET_OK)
											{

											}
										}
									}
							}
							/*9-5-1*/
							else if(CheckFild(5,z_coordinates) == SET)
							{
								if(CheckFild(1,z_coordinates) == SET)
								{
											if((ModifyGameField(2,Z)) != SET_OK)
											{
												if((ModifyGameField(6,Z)) != SET_OK)
												{
													if((ModifyGameField(4,Z)) != SET_OK)
													{
														if((ModifyGameField(8,Z)) != SET_OK)
														{

														}
													}
												}
											}
								}
							/*9-5->3||7*/
							else
							{
								if((ModifyGameField(3,Z)) != SET_OK)
								{
									if((ModifyGameField(7,Z)) != SET_OK)
									{

									}
								}
							}
							}

							break;
					}

		}

}
	step++;
if(step == 5)
{
	return DRAW;
}
return NEXT_STEP;
}

void SeparateLine(uint8_t num_cell)
{
			char buff_comb[8][3];
			memcpy(buff_comb,first_state.buff_comb,sizeof(first_state.buff_comb));
			/*произведем поиск комбинации которую необходимо блокировать*/
			for(int i = 0 ; i < first_state.cnt_comb; i++)
			{
				for(int j = 0; j < 3;j++)
				{
					if(first_state.buff_comb[i][j] == num_cell)
					{
						/*переместим в структуру блокирования*/
						for(int k = 0 ; k < 3;k++)
						{
							block_comb.buff_comb[block_comb.cnt_comb][k] = first_state.buff_comb[i][k];
							buff_comb[i][k] = 0;

						}

							/*инкрементируем счетчик данных в структуре*/
							block_comb.cnt_comb++;
					}
				}
			}

			/*произведем поиск нормальных комбинаций*/
			for(int i = 0 ; i < first_state.cnt_comb; i++)
			{
				if(buff_comb[i][0] != 0)
				{
						/*переместим в структуру блокирования*/
						for(int k = 0 ; k < 3;k++)
						{
							norm_comb.buff_comb[norm_comb.cnt_comb][k] = first_state.buff_comb[i][k];
						}
							/*инкрементируем счетчик данных в структуре*/
						norm_comb.cnt_comb++;
				}

			 }
}

bool SearchWinComb(uint8_t num_cell)
{
	bool result;
				norm_comb.cnt_comb = 0;
					for(int i = 0 ; i < 8; i++)
					{
						for(int j = 0; j < 3;j++)
						{
							/*если не пусто призведем проверку на возможность победы*/
							if(norm_comb.buff_comb[i][j] != 0)
							{
								/*проверим поле на наличие нолика*/
								for(int k = 0; k < 3; k++)
								{
									if(CheckFild(norm_comb.buff_comb[i][k],z_coordinates) == SET)
									{
											norm_comb.cnt_comb++;
									}
								}
								if(norm_comb.cnt_comb == 2)
								{
										/*произведем установку нолика*/
										for(int k = 0; k < 3; k++)
										{
												ModifyGameField(norm_comb.buff_comb[i][k],Z);
										}
											return true;
								}
								else
								{
									norm_comb.cnt_comb = 0;
								}
							}
						}
					}
	return result;
}

uint8_t SearchLineBlock(uint8_t num_cell)
{
	uint8_t result_search = 0;
	int cnt_x = 0;
				/*произведем поиск индекса в массиве блокируемых комбинаций для дальнейшего блокирования и удаления*/
					for(int i = 0 ; i < 8; i++)
					{
						for(int j = 0; j < 3;j++)
						{
							if(block_comb.buff_comb[i][j] == num_cell)
							{
								/*проверим поле на наличие крестика*/
								for(int k = 0; k < 3; k++)
								{
									if(CheckFild(block_comb.buff_comb[i][k],x_coordinates) != SET &&
										 CheckFild(block_comb.buff_comb[i][k],z_coordinates) != SET)
									{
										/*определим индекс линии которую необходимо блокировать*/
										result_search = block_comb.buff_comb[i][k];
									}
									if(CheckFild(block_comb.buff_comb[i][k],x_coordinates) == SET)
									{
										cnt_x++;
									}
								}
								if(cnt_x == 2 && result_search != 0)
								{
									return result_search;
								}
								if(cnt_x == 3)
								{
									return LOSS;
								}
								result_search = 0;
								cnt_x = 0;
							}
						}
					 }
  			return result_search;
}
void MoveComb(uint8_t num_cell,char* source,char* destination)
{

					/*произведем поиск комбинации которую необходимо перенести в список блокирования*/
					for(int i = 0 ; i < 8; i++)
					{
						for(int j = 0; j < 3;j++)
						{
							if(source[j] == num_cell)
							{
								/*проверим линию на наличие нолика*/
								for(int k = 0; k < 3; k++)
								{
										if(CheckFild(source[k],z_coordinates) == SET)
										{
											/*удалим линию*/
											for(int clear_idx = 0 ; clear_idx < 3 ;clear_idx++)
											{
												source[clear_idx] = 0;
											}
											break;
										}
								}
								/*произведем поиск пустого места в массиве блокирования*/
								for(int idx = 0; idx < 8; idx++)
								{
									if(destination[idx] == 0)
									{
										break;
									}
									destination += 3;
								}
								/*переместим в структуру блокирования*/
								for(int k = 0 ; k < 3;k++)
								{
									destination[k] = source[k];
									source[k] = 0;
								}
							}
						}
						source += 3;
					}
}

void RemoveComb(uint8_t num_cell,char* source)
{

		/*произведем поиск комбинации которую необходимо удалить из блокировки*/
		for(int i = 0 ; i < 8; i++)
		{
			for(int j = 0; j < 3;j++)
			{
				if(source[j] == num_cell)
				{
					/*переместим в структуру блокирования*/
					for(int k = 0 ; k < 3;k++)
					{
						source[k] *= 0;
					}
				}
			}
			source +=3;
		}
}

void SetMoveInMsg(uint8_t move, uint8_t symbol)
{

	uint8_t x1 = 0;
	uint8_t x2 = 0;
	uint8_t y1 = 0;
	uint8_t y2 = 0;
	char *ptr_array;
	char *offset_ptr_array;
	uint8_t x_y_symbol[10][2] =     {{0,0},{0,1},{0,2},
														      {1,0},{1,1},{1,2},
														      {2,0},{2,1},{2,2},
																	{3,0}};

  static char *array_symbol[][3] = {{"A1","B1","C1"},
																		{"A2","B2","C2"},
																		{"A3","B3","C3"},
																		{"  "}};

	offset_ptr_array = ptr_array = array_symbol[x_y_symbol[move][0]][x_y_symbol[move][1]];
	++offset_ptr_array;

	if(symbol == Z)
	{
		x1 = 22;
		x2 = 23;
	}

	else if(symbol == X)
	{
		x1 = 10;
		x2 = 11;
	}

	your_step_my_step[x1] = *ptr_array;//*array_symbol[x_y_symbol[move][0]][x_y_symbol[move][1]];
	your_step_my_step[x2] = *offset_ptr_array;//*(++array_symbol[x_y_symbol[move][0]][x_y_symbol[move][1]]);

}

void ResetAllDataGame(void)
{

		for(int i = 1; i < 10; i++)
		{
			ModifyGameField(i,CLR);
		}
		for(int i = 0; i < 8;i++)
		{
			for(int j = 0; j < 3; j++)
		  {
				block_comb.buff_comb[i][j] = 0;
				norm_comb.buff_comb[i][j] = 0;
			}
		}
		for(int i = 0; i < 10; i++)
		{
				z_coordinates[i] = 0;
				x_coordinates[i] = 0;
		}
		step = 0;
		SetMoveInMsg(CLEAR_STRING,Z);
		SetMoveInMsg(CLEAR_STRING,X);
		flag_start_game = true;
}
/* USER CODE END 4 */

void StartDefaultTask(void const * argument)
{
  /* init code for USB_DEVICE */
  MX_USB_DEVICE_Init();
  for(;;)
  {
    osDelay(1);
  }
}

void Error_Handler(void)
{
}

/************************ (C) COPYRIGHT STMicroelectronics *****END OF FILE****/

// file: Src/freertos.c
/* USER CODE BEGIN Header */
/**
  ******************************************************************************
  * File Name          : freertos.c
  * Description        : Code for freertos applications
  ******************************************************************************
  * This notice applies to any and all portions of this file
  * that are not between comment pairs USER CODE BEGIN and
  * USER CODE END. Other portions of this file, whether
  * inserted by the user or by software development tools
  * are owned by their respective copyright owners.
  *
  * Copyright (c) 2020 STMicroelectronics International N.V.
  * All rights reserved.
  *
  * Redistribution and use in source and binary forms, with or without
  * modification, are permitted, provided that the following conditions are met:
  *
  * 1. Redistribution of source code must retain the above copyright notice,
  *    this list of conditions and the following disclaimer.
  * 2. Redistributions in binary form must reproduce the above copyright notice,
  *    this list of conditions and the following disclaimer in the documentation
  *    and/or other materials provided with the distribution.
  * 3. Neither the name of STMicroelectronics nor the names of other
  *    contributors to this software may be used to endorse or promote products
  *    derived from this software without specific written permission.
  * 4. This software, including modifications and/or derivative works of this
  *    software, must execute solely and exclusively on microcontroller or
  *    microprocessor devices manufactured by or for STMicroelectronics.
  * 5. Redistribution and use of this software other than as permitted under
  *    this license is void and will automatically terminate your rights under
  *    this license.
  *
  * THIS SOFTWARE IS PROVIDED BY STMICROELECTRONICS AND CONTRIBUTORS "AS IS"
  * AND ANY EXPRESS, IMPLIED OR STATUTORY WARRANTIES, INCLUDING, BUT NOT
  * LIMITED TO, THE IMPLIED WARRANTIES OF MERCHANTABILITY, FITNESS FOR A
  * PARTICULAR PURPOSE AND NON-INFRINGEMENT OF THIRD PARTY INTELLECTUAL PROPERTY
  * RIGHTS ARE DISCLAIMED TO THE FULLEST EXTENT PERMITTED BY LAW. IN NO EVENT
  * SHALL STMICROELECTRONICS OR CONTRIBUTORS BE LIABLE FOR ANY DIRECT, INDIRECT,
  * INCIDENTAL, SPECIAL, EXEMPLARY, OR CONSEQUENTIAL DAMAGES (INCLUDING, BUT NOT
  * LIMITED TO, PROCUREMENT OF SUBSTITUTE GOODS OR SERVICES; LOSS OF USE, DATA,
  * OR PROFITS; OR BUSINESS INTERRUPTION) HOWEVER CAUSED AND ON ANY THEORY OF
  * LIABILITY, WHETHER IN CONTRACT, STRICT LIABILITY, OR TORT (INCLUDING
  * NEGLIGENCE OR OTHERWISE) ARISING IN ANY WAY OUT OF THE USE OF THIS SOFTWARE,
  * EVEN IF ADVISED OF THE POSSIBILITY OF SUCH DAMAGE.
  *
  ******************************************************************************
  */
/* USER CODE END Header */

#include "FreeRTOS.h"
#include "task.h"
#include "main.h"

/* GetIdleTaskMemory prototype (linked to static allocation support) */
void vApplicationGetIdleTaskMemory( StaticTask_t **ppxIdleTaskTCBBuffer, StackType_t **ppxIdleTaskStackBuffer, uint32_t *pulIdleTaskStackSize );

/* USER CODE BEGIN GET_IDLE_TASK_MEMORY */
static StaticTask_t xIdleTaskTCBBuffer;
static StackType_t xIdleStack[configMINIMAL_STACK_SIZE];

void vApplicationGetIdleTaskMemory( StaticTask_t **ppxIdleTaskTCBBuffer, StackType_t **ppxIdleTaskStackBuffer, uint32_t *pulIdleTaskStackSize )
{
  *ppxIdleTaskTCBBuffer = &xIdleTaskTCBBuffer;
  *ppxIdleTaskStackBuffer = &xIdleStack[0];
  *pulIdleTaskStackSize = configMINIMAL_STACK_SIZE;
  /* place for user code */
}
/* USER CODE END GET_IDLE_TASK_MEMORY */

/************************ (C) COPYRIGHT STMicroelectronics *****END OF FILE****/
